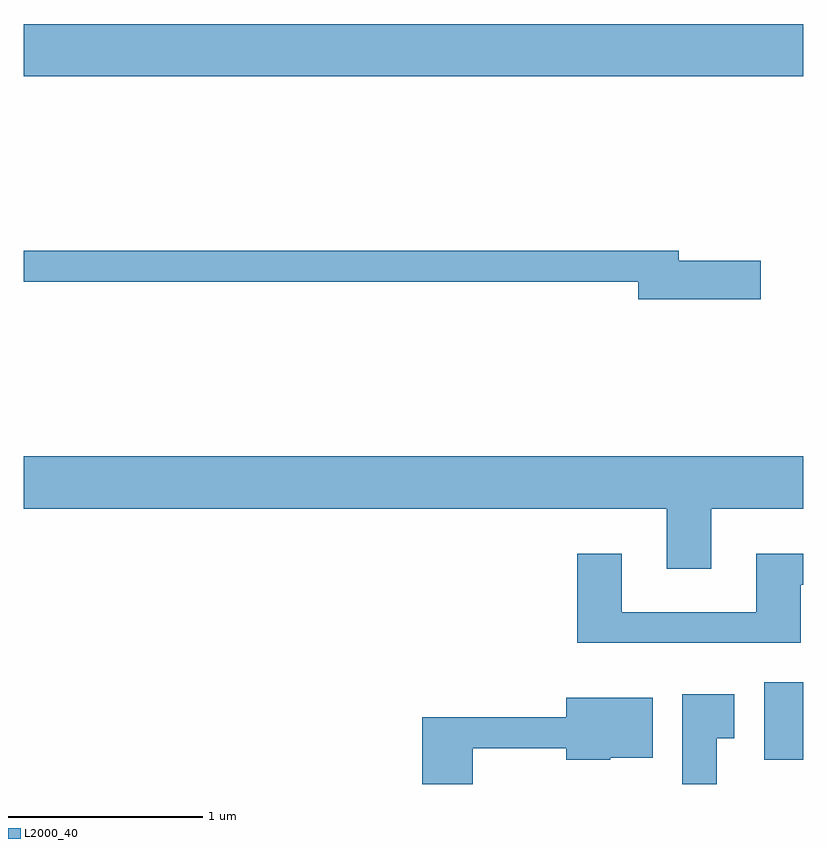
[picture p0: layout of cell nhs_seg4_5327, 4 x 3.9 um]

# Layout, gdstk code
import gdstk
lib = gdstk.Library(unit=1e-6, precision=1e-09)
def R(c, l, rs):  # rectangles x0, y0, x1, y1
    for r in rs: c.add(gdstk.rectangle(r[:2], r[2:], *l))
def P(c, l, *ps):  # polygons
    for p in ps: c.add(gdstk.Polygon(p, *l))
L2000_40 = (2000, 40)

nhs_seg4_5327 = lib.new_cell('nhs_seg4_5327')
R(nhs_seg4_5327, L2000_40, [(345.411,1300.106,345.611,1300.504), (341.611,1303.616,345.611,1303.884)])
P(nhs_seg4_5327, L2000_40, [(345.394,1302.669),(344.974,1302.669),(344.974,1302.719),(341.611,1302.719),(341.611,1302.561),(344.766,1302.561),(344.766,1302.471),(345.394,1302.471)],
  [(345.139,1301.396),(345.611,1301.396),(345.611,1301.664),(341.611,1301.664),(341.611,1301.396),(344.911,1301.396),(344.911,1301.086),(345.139,1301.086)],
  [(345.599,1301.006),(345.611,1301.006),(345.611,1301.164),(345.371,1301.164),(345.371,1300.864),(344.679,1300.864),(344.679,1301.164),(344.451,1301.164),(344.451,1300.706),(345.599,1300.706)],
  [(345.169,1300.216),(345.259,1300.216),(345.259,1300.444),(344.991,1300.444),(344.991,1299.982),(345.169,1299.982)],
  [(343.914,1300.166),(344.396,1300.166),(344.396,1300.106),(344.62,1300.106),(344.62,1300.116),(344.839,1300.116),(344.839,1300.424),(344.396,1300.424),(344.396,1300.324),(343.656,1300.324),(343.656,1299.982),(343.914,1299.982)])

lib.write_gds('nhs_seg4_5327.gds')
